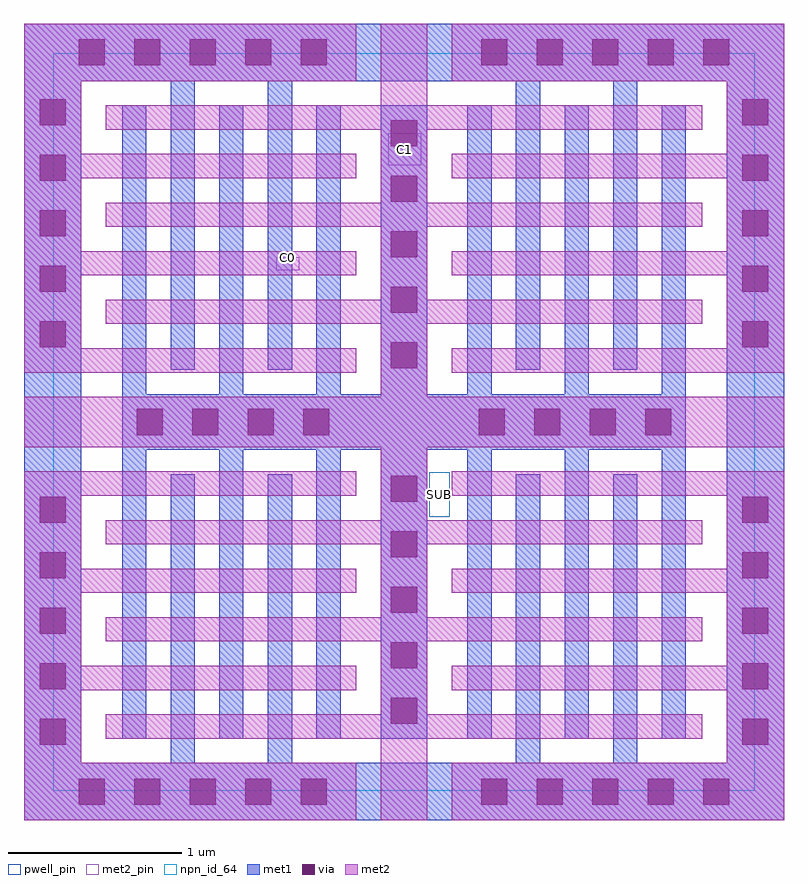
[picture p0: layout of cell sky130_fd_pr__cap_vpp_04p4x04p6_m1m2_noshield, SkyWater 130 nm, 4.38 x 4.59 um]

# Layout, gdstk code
import gdstk
lib = gdstk.Library(unit=1e-6, precision=1e-09)
def R(c, l, rs):  # rectangles x0, y0, x1, y1
    for r in rs: c.add(gdstk.rectangle(r[:2], r[2:], *l))
def A(c, l, x, y, w, h, nx, ny, dx, dy):  # array of equal rectangles
    R(c, l, [(x+i*dx, y+j*dy, x+i*dx+w, y+j*dy+h) for i in range(nx) for j in range(ny)])
met1 = (68, 20)
via = (68, 44)
met2_pin = (69, 16)
met2 = (69, 20)
npn_id_64 = (82, 64)
pwell_pin = (122, 16)

sky130_fd_pr__cap_vpp_04 = lib.new_cell('sky130_fd_pr__cap_vpp_04p4x04p6_m1m2_noshield')
A(sky130_fd_pr__cap_vpp_04, met1, 0.565, 0.47, 0.14, 1.665, 3, 2, 0.56, 1.985)
A(sky130_fd_pr__cap_vpp_04, met1, 2.555, 0.47, 0.14, 1.665, 3, 2, 0.56, 1.985)
R(sky130_fd_pr__cap_vpp_04, met1, [(0,0,4.38,0.33), (0.845,0.32,0.985,1.995), (1.405,0.32,1.545,1.995), (2.835,0.32,2.975,1.995), (3.395,0.32,3.535,1.995), (0,0.33,0.33,4.26), (4.05,0.33,4.38,4.27), (2.055,0.47,2.325,4.12), (0.565,2.135,2.325,2.455), (2.055,2.135,3.815,2.455), (0.845,2.595,0.985,4.27), (1.405,2.595,1.545,4.27), (2.835,2.595,2.975,4.27), (3.395,2.595,3.535,4.27), (0,4.26,4.38,4.59), (0,4.27,0.33,4.59)])
A(sky130_fd_pr__cap_vpp_04, via, 0.09, 0.435, 0.15, 0.15, 1, 5, 0, 0.32)
A(sky130_fd_pr__cap_vpp_04, via, 4.14, 0.435, 0.15, 0.15, 1, 5, 0, 0.32)
A(sky130_fd_pr__cap_vpp_04, via, 2.115, 0.555, 0.15, 0.15, 1, 5, 0, 0.32)
A(sky130_fd_pr__cap_vpp_04, via, 0.65, 2.22, 0.15, 0.15, 4, 1, 0.32, 0)
A(sky130_fd_pr__cap_vpp_04, via, 2.62, 2.22, 0.15, 0.15, 4, 1, 0.32, 0)
A(sky130_fd_pr__cap_vpp_04, via, 2.115, 2.605, 0.15, 0.15, 1, 5, 0, 0.32)
A(sky130_fd_pr__cap_vpp_04, via, 0.09, 2.725, 0.15, 0.15, 1, 5, 0, 0.32)
A(sky130_fd_pr__cap_vpp_04, via, 4.14, 2.725, 0.15, 0.15, 1, 5, 0, 0.32)
R(sky130_fd_pr__cap_vpp_04, via, [(0.315,0.09,0.465,0.24), (0.315,0.09,0.465,0.24), (0.635,0.09,0.785,0.24), (0.635,0.09,0.785,0.24), (0.955,0.09,1.105,0.24), (0.955,0.09,1.105,0.24), (1.275,0.09,1.425,0.24), (1.275,0.09,1.425,0.24), (1.595,0.09,1.745,0.24), (1.595,0.09,1.745,0.24), (2.635,0.09,2.785,0.24), (2.635,0.09,2.785,0.24), (2.955,0.09,3.105,0.24), (2.955,0.09,3.105,0.24), (3.275,0.09,3.425,0.24), (3.275,0.09,3.425,0.24), (3.595,0.09,3.745,0.24), (3.595,0.09,3.745,0.24), (3.915,0.09,4.065,0.24), (3.915,0.09,4.065,0.24), (0.315,4.35,0.465,4.5), (0.315,4.35,0.465,4.5), (0.635,4.35,0.785,4.5), (0.635,4.35,0.785,4.5), (0.955,4.35,1.105,4.5), (0.955,4.35,1.105,4.5), (1.275,4.35,1.425,4.5), (1.275,4.35,1.425,4.5), (1.595,4.35,1.745,4.5), (1.595,4.35,1.745,4.5), (2.635,4.35,2.785,4.5), (2.635,4.35,2.785,4.5), (2.955,4.35,3.105,4.5), (2.955,4.35,3.105,4.5), (3.275,4.35,3.425,4.5), (3.275,4.35,3.425,4.5), (3.595,4.35,3.745,4.5), (3.595,4.35,3.745,4.5), (3.915,4.35,4.065,4.5), (3.915,4.35,4.065,4.5)])
R(sky130_fd_pr__cap_vpp_04, met2_pin, [(1.455,3.17,1.585,3.245), (2.1,3.775,2.29,3.96)])
A(sky130_fd_pr__cap_vpp_04, met2, 0.47, 0.47, 1.585, 0.14, 1, 3, 0, 0.56)
A(sky130_fd_pr__cap_vpp_04, met2, 2.325, 0.47, 1.585, 0.14, 1, 3, 0, 0.56)
A(sky130_fd_pr__cap_vpp_04, met2, 0.33, 0.75, 1.585, 0.14, 1, 3, 0, 0.56)
A(sky130_fd_pr__cap_vpp_04, met2, 2.465, 0.75, 1.585, 0.14, 1, 3, 0, 0.56)
A(sky130_fd_pr__cap_vpp_04, met2, 0.33, 2.58, 1.585, 0.14, 1, 3, 0, 0.56)
A(sky130_fd_pr__cap_vpp_04, met2, 2.465, 2.58, 1.585, 0.14, 1, 3, 0, 0.56)
A(sky130_fd_pr__cap_vpp_04, met2, 0.47, 2.86, 1.585, 0.14, 1, 3, 0, 0.56)
A(sky130_fd_pr__cap_vpp_04, met2, 2.325, 2.86, 1.585, 0.14, 1, 3, 0, 0.56)
R(sky130_fd_pr__cap_vpp_04, met2, [(0,0,1.915,0.33), (2.055,0,2.325,4.59), (2.465,0,4.38,0.33), (0,0.33,0.33,2.01), (4.05,0.33,4.38,2.01), (0,2.15,4.38,2.44), (0,2.58,0.33,4.59), (4.05,2.58,4.38,4.59), (0,4.26,1.915,4.59), (2.465,4.26,4.38,4.59)])
R(sky130_fd_pr__cap_vpp_04, npn_id_64, [(0.17,0.17,4.21,4.42)])
R(sky130_fd_pr__cap_vpp_04, pwell_pin, [(2.335,1.75,2.455,2.005)])
sky130_fd_pr__cap_vpp_04.add(gdstk.Label('C0', (1.52,3.245), layer=69, texttype=5))
sky130_fd_pr__cap_vpp_04.add(gdstk.Label('C1', (2.195,3.865), layer=69, texttype=5))
sky130_fd_pr__cap_vpp_04.add(gdstk.Label('SUB', (2.395,1.875), layer=64, texttype=59))

lib.write_gds('sky130_fd_pr__cap_vpp_04p4x04p6_m1m2_noshield.gds')
